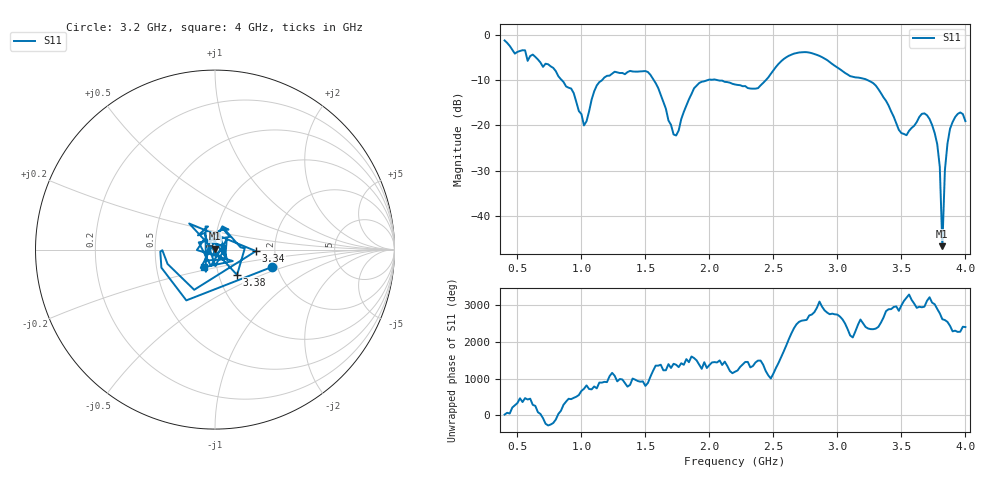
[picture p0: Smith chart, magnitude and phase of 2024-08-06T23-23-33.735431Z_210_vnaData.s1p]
!Created with skrf (http://scikit-rf.org).
# Hz S RI R 50.0
!freq ReS11 ImS11
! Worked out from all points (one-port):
!   181 points, 400 MHz to 4 GHz, reference 50 ohm
!   lowest |S11| = -46.7 dB at 3.82 GHz (marker M1), VSWR 1.01, Z = 50 + j0.462 ohm
!   |S11| at or under -10 dB: 1.566 GHz to 1.985 GHz (418.8 MHz wide, 23.6 % of centre); 2.068 GHz to 2.44 GHz (372.9 MHz wide, 16.5 % of centre); 3.238 GHz to end of sweep (the widest 3 of 4)
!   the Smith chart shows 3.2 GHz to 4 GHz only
!   S11 on the Smith chart (normalised r, x): 3.2 GHz: 1.86, -0.41; 3.34 GHz: 1.59, -0.03; 3.38 GHz: 1.22, -0.36; 4 GHz: 0.87, -0.17
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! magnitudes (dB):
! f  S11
! 400 MHz  -1.2
! 860 MHz  -10.4
! 940 MHz  -12.9
! 1.02 GHz  -20.0
! 1.12 GHz  -11.2
! 1.3 GHz  -8.4
! 1.52 GHz  -8.2
! 1.6 GHz  -11.7
! 1.72 GHz  -22.0
! 1.76 GHz  -21.1
! 1.92 GHz  -10.6
! 2.2 GHz  -10.9
! 2.38 GHz  -11.8
! 2.66 GHz  -4.1
! 3.1 GHz  -9.1
! 3.2 GHz  -9.6
! 3.34 GHz  -12.8
! 3.38 GHz  -14.6
! 3.48 GHz  -21.0
! 3.56 GHz  -21.2
! 3.68 GHz  -17.3
! 3.76 GHz  -21.7
! 3.8 GHz  -29.2
! 3.82 GHz  -46.7
! 3.84 GHz  -29.9
! 3.88 GHz  -20.7
! 3.96 GHz  -17.1
! 4 GHz  -19.0
